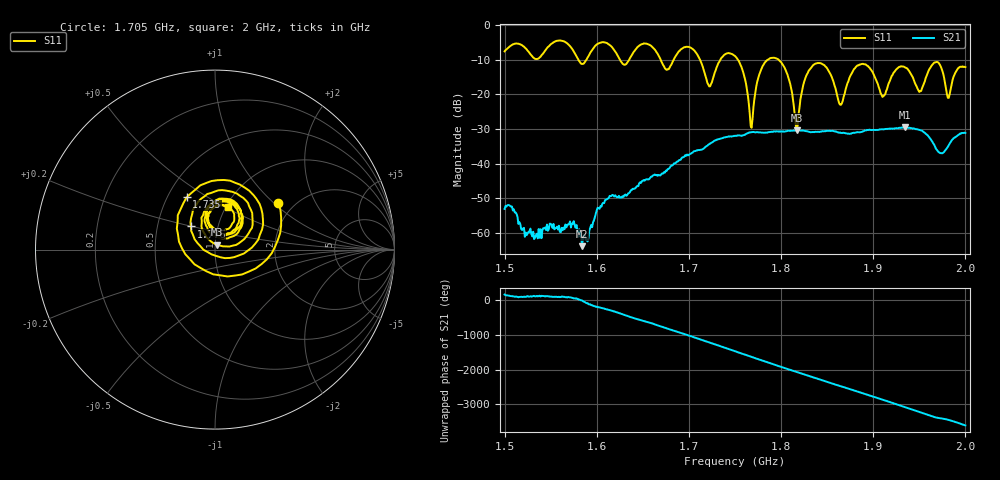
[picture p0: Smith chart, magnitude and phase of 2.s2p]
! NanoVNA-App by SYSJOINT et al v1.1.209 (+OD18)
! Date: 2026-01-21 14:51:26
! Start: 1,5GHz Stop: 2GHz Points: 501
! S-Parameter data: F S11 S21 S12 S22
# Hz S RI R 50
!  Frequency  S11_Real  S11_Imag  S21_Real  S21_Imag  S12_Real  S12_Imag  S22_Real  S22_Imag
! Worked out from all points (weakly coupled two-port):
!   501 points, 1.5 GHz to 2 GHz, reference 50 ohm
!   highest |S21| = -29.51 dB at 1.934 GHz (marker M1); lowest = -63.9 dB at 1.584 GHz (marker M2)
!   lowest |S11| = -30.5 dB at 1.817 GHz (marker M3), VSWR 1.06, Z = 51.1 + j2.82 ohm
!   |S11| at or under -10 dB: 1.712 GHz to 1.734 GHz (22.12 MHz wide, 1.28 % of centre); 1.753 GHz to 1.786 GHz (33.02 MHz wide, 1.87 % of centre); 1.797 GHz to end of sweep (the widest 3 of 6)
!   S12 and S22 are empty: the file has one direction only
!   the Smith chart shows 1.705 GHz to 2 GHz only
!   S11 on the Smith chart (normalised r, x): 1.705 GHz: 1.66, +1.07; 1.735 GHz: 0.62, +0.41; 1.776 GHz: 0.74, +0.20; 2 GHz: 1.03, +0.51
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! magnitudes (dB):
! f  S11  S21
! 1.5 GHz  -7.6  -53.1
! 1.561 GHz  -4.5  -59.8
! 1.584 GHz  -11.3  -63.9
! 1.606 GHz  -5.0  -51.6
! 1.667 GHz  -8.8  -43.3
! 1.705 GHz  -7.2  -36.5
! 1.722 GHz  -17.7  -34.4
! 1.735 GHz  -9.6  -32.8
! 1.75 GHz  -9.0  -32.0
! 1.768 GHz  -29.7  -31.0
! 1.776 GHz  -14.6  -31.0
! 1.8 GHz  -10.7  -30.7
! 1.817 GHz  -30.5  -30.5
! 1.834 GHz  -11.9  -30.9
! 1.864 GHz  -23.0  -31.0
! 1.885 GHz  -11.4  -31.0
! 1.917 GHz  -16.7  -30.0
! 1.934 GHz  -12.2  -29.5
! 1.951 GHz  -19.1  -30.3
! 1.97 GHz  -10.7  -36.4
! 1.982 GHz  -21.0  -34.7
! 2 GHz  -12.2  -31.2
